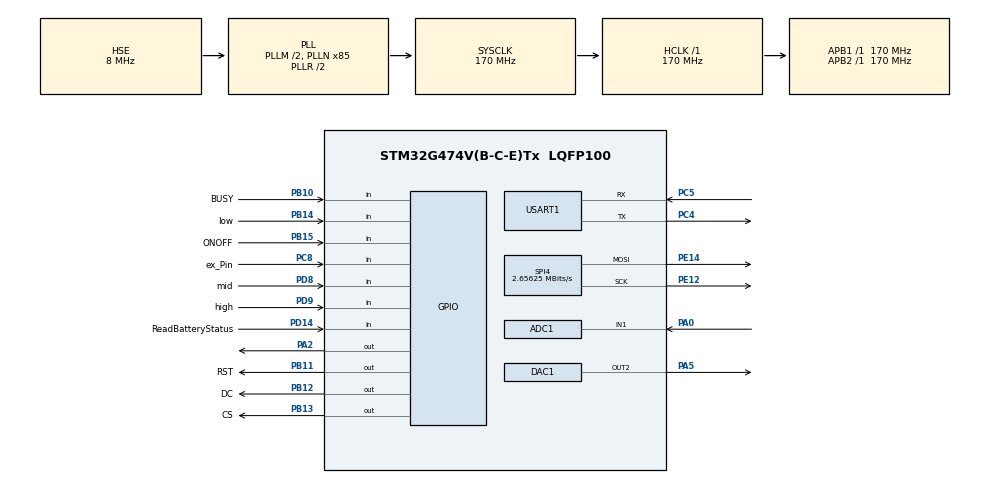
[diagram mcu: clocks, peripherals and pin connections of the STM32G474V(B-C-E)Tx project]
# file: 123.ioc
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ADC1.Channel-0\#ChannelRegularConversion=ADC_CHANNEL_1
ADC1.ClockPrescaler=ADC_CLOCK_ASYNC_DIV16
ADC1.ContinuousConvMode=DISABLE
ADC1.NbrOfConversionFlag=1
ADC1.OffsetNumber-0\#ChannelRegularConversion=ADC_OFFSET_NONE
ADC1.Rank-0\#ChannelRegularConversion=1
ADC1.SamplingTime-0\#ChannelRegularConversion=ADC_SAMPLETIME_640CYCLES_5
ADC1.master=1
DAC1.DAC_Channel-DAC_OUT2=DAC_CHANNEL_2
DAC1.DAC_OutputBuffer-DAC_OUT2=DAC_OUTPUTBUFFER_ENABLE
Mcu.Family=STM32G4
Mcu.Name=STM32G474V(B-C-E)Tx
Mcu.Package=LQFP100
NVIC.PriorityGroup=NVIC_PRIORITYGROUP_4
NVIC.RTC_WKUP_IRQn=true\:0\:0\:false\:false\:true\:true\:true\:true
NVIC.USART1_IRQn=true\:0\:0\:false\:false\:true\:true\:true\:true
PA0.Mode=IN1-Single-Ended
PA0.Signal=ADC1_IN1
PA13.Mode=Serial_Wire
PA13.Signal=SYS_JTMS-SWDIO
PA14.Mode=Serial_Wire
PA14.Signal=SYS_JTCK-SWCLK
PA2.Signal=GPIO_Output
PA5.Signal=COMP_DAC12_group
PB10.GPIO_Label=BUSY
PB10.GPIO_Mode=GPIO_MODE_INPUT
PB10.GPIO_PuPd=GPIO_NOPULL
PB10.Signal=GPIO_Input
PB11.GPIO_Label=RST
PB11.PinState=GPIO_PIN_SET
PB11.Signal=GPIO_Output
PB12.GPIO_Label=DC
PB12.PinState=GPIO_PIN_SET
PB12.Signal=GPIO_Output
PB13.GPIO_Label=CS
PB13.PinState=GPIO_PIN_SET
PB13.Signal=GPIO_Output
PB14.GPIO_Label=low
PB14.GPIO_PuPd=GPIO_PULLDOWN
PB14.Signal=GPIO_Input
PB15.GPIO_Label=ONOFF
PB15.GPIO_Mode=GPIO_MODE_INPUT
PB15.GPIO_PuPd=GPIO_PULLDOWN
PB15.Signal=GPIO_Input
PC14-OSC32_IN.Mode=LSE-External-Oscillator
PC14-OSC32_IN.Signal=RCC_OSC32_IN
PC15-OSC32_OUT.Mode=LSE-External-Oscillator
PC15-OSC32_OUT.Signal=RCC_OSC32_OUT
PC4.Mode=Asynchronous
PC4.Signal=USART1_TX
PC5.Mode=Asynchronous
PC5.Signal=USART1_RX
PC8.GPIO_Label=ex_Pin
PC8.GPIO_PuPd=GPIO_PULLDOWN
PC8.Signal=GPIO_Input
PD14.GPIO_Label=ReadBatteryStatus
PD14.GPIO_PuPd=GPIO_PULLDOWN
PD14.Signal=GPIO_Input
PD8.GPIO_Label=mid
PD8.GPIO_PuPd=GPIO_PULLDOWN
PD8.Signal=GPIO_Input
PD9.GPIO_Label=high
PD9.GPIO_PuPd=GPIO_PULLDOWN
PD9.Signal=GPIO_Input
PE12.GPIO_Speed=GPIO_SPEED_FREQ_VERY_HIGH
PE12.Mode=TX_Only_Simplex_Unidirect_Master
PE12.Signal=SPI4_SCK
PE14.GPIO_Speed=GPIO_SPEED_FREQ_VERY_HIGH
PE14.Mode=TX_Only_Simplex_Unidirect_Master
PE14.Signal=SPI4_MOSI
PF0-OSC_IN.Mode=HSE-External-Oscillator
PF0-OSC_IN.Signal=RCC_OSC_IN
PF1-OSC_OUT.Mode=HSE-External-Oscillator
PF1-OSC_OUT.Signal=RCC_OSC_OUT
ProjectManager.HeapSize=0x800
ProjectManager.StackSize=0x800
ProjectManager.TargetToolchain=CMake
RCC.ADC12Freq_Value=170000000
RCC.ADC345Freq_Value=170000000
RCC.AHBFreq_Value=170000000
RCC.APB1Freq_Value=170000000
RCC.APB1TimFreq_Value=170000000
RCC.APB2Freq_Value=170000000
RCC.APB2TimFreq_Value=170000000
RCC.CortexFreq_Value=170000000
RCC.EXTERNAL_CLOCK_VALUE=12288000
RCC.HCLKFreq_Value=170000000
RCC.HSE_VALUE=8000000
RCC.HSI48_VALUE=48000000
RCC.HSI_VALUE=16000000
RCC.PLLM=RCC_PLLM_DIV2
RCC.PLLN=85
RCC.PLLSourceVirtual=RCC_PLLSOURCE_HSE
RCC.RTCClockSelection=RCC_RTCCLKSOURCE_LSE
RCC.SYSCLKFreq_VALUE=170000000
RCC.SYSCLKSource=RCC_SYSCLKSOURCE_PLLCLK
RCC.USBFreq_Value=170000000
RCC.VCOOutputFreq_Value=340000000
RTC.WakeUpClock-WakeUp=RTC_WAKEUPCLOCK_CK_SPRE_16BITS
RTC.WakeUpCounter-WakeUp=120
SH.COMP_DAC12_group.0=DAC1_OUT2,DAC_OUT2
SPI4.BaudRatePrescaler=SPI_BAUDRATEPRESCALER_64
SPI4.CalculateBaudRate=2.65625 MBits/s
SPI4.DataSize=SPI_DATASIZE_8BIT
SPI4.Direction=SPI_DIRECTION_2LINES
SPI4.Mode=SPI_MODE_MASTER
SPI4.NSSPMode=SPI_NSS_PULSE_DISABLE
SPI4.VirtualType=VM_MASTER
STMicroelectronics.X-CUBE-AI.10.2.0.ActivationBufferSizeList=32616
STMicroelectronics.X-CUBE-AI.10.2.0.ActivationBuffers=pool0
STMicroelectronics.X-CUBE-AI.10.2.0.ActivationNames=pool0
STMicroelectronics.X-CUBE-AI.10.2.0.ActivationSizes=AI_NETWORK_DATA_ACTIVATION_1_SIZE
STMicroelectronics.X-CUBE-AI.10.2.0.ApplicationCcDeviceJjApplication=ApplicationTemplate
STMicroelectronics.X-CUBE-AI.10.2.0.HeapSize=0x800
STMicroelectronics.X-CUBE-AI.10.2.0.InternalRamActivationBufferMaxSize=AI_NETWORK_DATA_ACTIVATIONS_SIZE
STMicroelectronics.X-CUBE-AI.10.2.0.LatestDirectoryUsed-e03d76119f23cd8924233cba32280c27f150eac518f742fb6101dcb9f2cd65d5=C\:\\Users\\a0312\\OneDrive\\edge_aipytorch\\edge_application_pytorch_training_module
STMicroelectronics.X-CUBE-AI.10.2.0.MaximumNumberOfInputLayer=1
STMicroelectronics.X-CUBE-AI.10.2.0.MaximumNumberOfOutputLayer=1
STMicroelectronics.X-CUBE-AI.10.2.0.MaximumSizeOfInputLayer=1
STMicroelectronics.X-CUBE-AI.10.2.0.MaximumSizeOfOutputLayer=1
STMicroelectronics.X-CUBE-AI.10.2.0.ModelActualCompression-e03d76119f23cd8924233cba32280c27f150eac518f742fb6101dcb9f2cd65d5=0.0
STMicroelectronics.X-CUBE-AI.10.2.0.ModelCompression-e03d76119f23cd8924233cba32280c27f150eac518f742fb6101dcb9f2cd65d5=None
STMicroelectronics.X-CUBE-AI.10.2.0.ModelFlashOccupation-e03d76119f23cd8924233cba32280c27f150eac518f742fb6101dcb9f2cd65d5=290920
STMicroelectronics.X-CUBE-AI.10.2.0.ModelHashList=e03d76119f23cd8924233cba32280c27f150eac518f742fb6101dcb9f2cd65d5
STMicroelectronics.X-CUBE-AI.10.2.0.ModelKind-e03d76119f23cd8924233cba32280c27f150eac518f742fb6101dcb9f2cd65d5=ONNX
STMicroelectronics.X-CUBE-AI.10.2.0.ModelMacc-e03d76119f23cd8924233cba32280c27f150eac518f742fb6101dcb9f2cd65d5=3360129
STMicroelectronics.X-CUBE-AI.10.2.0.ModelName-e03d76119f23cd8924233cba32280c27f150eac518f742fb6101dcb9f2cd65d5=network
STMicroelectronics.X-CUBE-AI.10.2.0.ModelNameList=network
STMicroelectronics.X-CUBE-AI.10.2.0.ModelRamOccupation-e03d76119f23cd8924233cba32280c27f150eac518f742fb6101dcb9f2cd65d5=32616
STMicroelectronics.X-CUBE-AI.10.2.0.ModelStructureFile-e03d76119f23cd8924233cba32280c27f150eac518f742fb6101dcb9f2cd65d5=C\:\\Users\\a0312\\OneDrive\\edge_aipytorch\\edge_application_pytorch_training_module\\use_this.onnx
STMicroelectronics.X-CUBE-AI.10.2.0.ModelType-e03d76119f23cd8924233cba32280c27f150eac518f742fb6101dcb9f2cd65d5=STM32Cube.AI MCU runtime
STMicroelectronics.X-CUBE-AI.10.2.0.ReadyForCodeGeneration=true
STMicroelectronics.X-CUBE-AI.10.2.0.StackSize=0x800
STMicroelectronics.X-CUBE-AI.10.2.0.WorkingBufferStartAddrList=0xFFFFFFFF
STMicroelectronics.X-CUBE-AI.10.2.0.XAaCUBEAaAICcArtificialOoIntelligenceJjCore=true
STMicroelectronics.X-CUBE-AI.10.2.0.copyWeightToRam-e03d76119f23cd8924233cba32280c27f150eac518f742fb6101dcb9f2cd65d5=false
STMicroelectronics.X-CUBE-AI.10.2.0.customLayerConfigEnabled-e03d76119f23cd8924233cba32280c27f150eac518f742fb6101dcb9f2cd65d5=false
STMicroelectronics.X-CUBE-AI.10.2.0.noOnnxIoTranspose-e03d76119f23cd8924233cba32280c27f150eac518f742fb6101dcb9f2cd65d5=false
STMicroelectronics.X-CUBE-AI.10.2.0.useInputAllocation-e03d76119f23cd8924233cba32280c27f150eac518f742fb6101dcb9f2cd65d5=true
STMicroelectronics.X-CUBE-AI.10.2.0.useOutputAllocation-e03d76119f23cd8924233cba32280c27f150eac518f742fb6101dcb9f2cd65d5=true
USART1.VirtualMode-Asynchronous=VM_ASYNC
VP_RTC_VS_RTC_Activate.Mode=RTC_Enabled
VP_RTC_VS_RTC_WakeUp_intern.Mode=WakeUp
VP_STMicroelectronics.X-CUBE-AI_VS_ArtificialOoIntelligenceJjXAaCUBEAaAI_10.2.0.Mode=ArtificialOoIntelligenceJjXAaCUBEAaAI
VP_STMicroelectronics.X-CUBE-AI_VS_DeviceJjApplication_10.2.0.Mode=DeviceJjApplication
VP_SYS_VS_DBSignals.Mode=DisableDeadBatterySignals
board=custom

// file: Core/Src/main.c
/* USER CODE BEGIN Header */
/**
  ******************************************************************************
  * @file           : main.c
  * @brief          : Main program body
  ******************************************************************************
  * @attention
  *
  * Copyright (c) 2026 STMicroelectronics.
  * All rights reserved.
  *
  * This software is licensed under terms that can be found in the LICENSE file
  * in the root directory of this software component.
  * If no LICENSE file comes with this software, it is provided AS-IS.
  *
  ******************************************************************************
  */
/* USER CODE END Header */
#include "main.h"
#include "app_x-cube-ai.h"

/* USER CODE BEGIN Includes */
#include <stdint.h>
#include <stdio.h>
#include <stdlib.h>
#include <string.h>
#include <sys/_intsup.h>
#include "epd_driver.h"
#include "stm32g474xx.h"
#include "stm32g4xx_hal.h"
#include "epd_images.h"
#include "GUI.h"
#include "font.h"
#include "stm32g4xx_hal_adc.h"
#include "stm32g4xx_hal_gpio.h"
/* USER CODE END Includes */

ADC_HandleTypeDef hadc1;

DAC_HandleTypeDef hdac1;

RTC_HandleTypeDef hrtc;

SPI_HandleTypeDef hspi4;

UART_HandleTypeDef huart1;

/* USER CODE BEGIN PV */
uint8_t epd_update_flag = 1;
int adc_value = 0;
float voltage = 0;
float voltage1 = 0;
int soc = 0;
int soh = 0;
char meassage[256] = "";  // 扩大缓冲区以容纳更长的输出
char soc_str[20] = "";
float CAL_SLOPE_M  = 0.39f;
float CAL_OFFSET_B = 2.21f;
float Volt[20] = {0};
float Curr[20] = {0};
/* USER CODE END PV */

void SystemClock_Config(void);
static void MX_GPIO_Init(void);
static void MX_DAC1_Init(void);
static void MX_ADC1_Init(void);
static void MX_USART1_UART_Init(void);
static void MX_SPI4_Init(void);
static void MX_RTC_Init(void);
/* USER CODE BEGIN PFP */
void Update_BMS_UI(float voltage, float soc, float soh);
void low_efford(void);
void mid_efford(void);
void high_efford(void);
void ex_high_efford(void);
static void Update_AdcReading(void);

/* USER CODE END PFP */

int main(void)
{

  /* MCU Configuration--------------------------------------------------------*/

  /* Reset of all peripherals, Initializes the Flash interface and the Systick. */
  HAL_Init();

  /* Configure the system clock */
  SystemClock_Config();

  /* Initialize all configured peripherals */
  MX_GPIO_Init();
  MX_DAC1_Init();
  MX_ADC1_Init();
  MX_USART1_UART_Init();
  MX_SPI4_Init();
  MX_RTC_Init();
  MX_X_CUBE_AI_Init();
  /* USER CODE BEGIN 2 */

  /* 測試 UART 輸出 */
  sprintf(meassage, "\r\n=== UART INITIALIZED ===\r\n");
  HAL_UART_Transmit(&huart1, (uint8_t*)meassage, strlen(meassage), HAL_MAX_DELAY);

  HAL_ADCEx_Calibration_Start(&hadc1,ADC_SINGLE_ENDED);
  HAL_ADC_Start(&hadc1);
  HAL_ADC_PollForConversion(&hadc1, HAL_MAX_DELAY);
  Paint_NewImage(Canvas_BW, EPD_WIDTH, EPD_HEIGHT, ROTATE_90, WHITE);

  HAL_DAC_Start(&hdac1, DAC_CHANNEL_2);
  Update_AdcReading();

  if (HAL_GPIO_ReadPin(GPIOB, low_Pin) == GPIO_PIN_SET){
    Curr[0] = -2.7375f;
    high_efford();
  }
  else if (HAL_GPIO_ReadPin(GPIOD, mid_Pin) == GPIO_PIN_SET){
    Curr[0] = -1.42f;
    mid_efford();
  }
  else if (HAL_GPIO_ReadPin(GPIOD, high_Pin) == GPIO_PIN_SET){
    Curr[0] = -0.9125f;
    low_efford();
  }
  else if (HAL_GPIO_ReadPin(GPIOC, ex_Pin_Pin) == GPIO_PIN_SET){
    Curr[0] = -3.65f;
    ex_high_efford();
  }
  else if (HAL_GPIO_ReadPin(GPIOD, ReadBatteryStatus_Pin) == GPIO_PIN_SET){
    Curr[0]= - 0.01f;
    HAL_DAC_SetValue(&hdac1, DAC_CHANNEL_2, DAC_ALIGN_12B_R, 200);
  }
  else {
  }

  MX_X_CUBE_AI_Process();
  HAL_Delay(3000);

  Update_BMS_UI(voltage, soc, soh);

  sprintf(soc_str, "\r\nSOC: %d %%\r\n", soc);
  HAL_UART_Transmit(&huart1, (uint8_t*)soc_str, strlen(soc_str), HAL_MAX_DELAY);

  /* USER CODE END 2 */

  /* Infinite loop */
  /* USER CODE BEGIN WHILE */
  while (1)
  {
    Update_AdcReading();

    if (HAL_GPIO_ReadPin(GPIOB, ONOFF_Pin) == GPIO_PIN_SET){
      HAL_DAC_SetValue(&hdac1, DAC_CHANNEL_2, DAC_ALIGN_12B_R, 0);
      EPD_Init();
      EPD_Clear();
      EPD_Sleep();
      while(1);
    }

    HAL_DAC_Start(&hdac1, DAC_CHANNEL_2);      // formula => Vout(x/4095)*3.21
    if (HAL_GPIO_ReadPin(GPIOB, low_Pin) == GPIO_PIN_SET){
      Curr[0] = -2.7375f;
      high_efford();
    }
    else if (HAL_GPIO_ReadPin(GPIOD, mid_Pin) == GPIO_PIN_SET){
      Curr[0] = -1.42f;
      mid_efford();
    }
    else if (HAL_GPIO_ReadPin(GPIOD, high_Pin) == GPIO_PIN_SET){
      Curr[0] = -0.9125f;
      low_efford();
    }
    else if (HAL_GPIO_ReadPin(GPIOC, ex_Pin_Pin) == GPIO_PIN_SET){
      Curr[0] = -3.65f;
      ex_high_efford();
    }
    else if (HAL_GPIO_ReadPin(GPIOD, ReadBatteryStatus_Pin) == GPIO_PIN_SET){
    Curr[0]= -0.01f;
    HAL_DAC_SetValue(&hdac1, DAC_CHANNEL_2, DAC_ALIGN_12B_R, 200);
    }
    else {
    }

    if (epd_update_flag == 1 ){
          epd_update_flag = 0;
          Update_BMS_UI(voltage, soc, soh);
      }
    if(voltage < 2.70f) {
    HAL_DAC_SetValue(&hdac1, DAC_CHANNEL_2, DAC_ALIGN_12B_R, 0);
    while(1);
   }
    /* 調用 AI 推理流程 */
    MX_X_CUBE_AI_Process();

    /* USER CODE END WHILE */

  MX_X_CUBE_AI_Process();
  }
}

void SystemClock_Config(void)
{
  RCC_OscInitTypeDef RCC_OscInitStruct = {0};
  RCC_ClkInitTypeDef RCC_ClkInitStruct = {0};

  /** Configure the main internal regulator output voltage
  */
  HAL_PWREx_ControlVoltageScaling(PWR_REGULATOR_VOLTAGE_SCALE1_BOOST);

  /** Configure LSE Drive Capability
  */
  HAL_PWR_EnableBkUpAccess();
  __HAL_RCC_LSEDRIVE_CONFIG(RCC_LSEDRIVE_LOW);

  /** Initializes the RCC Oscillators according to the specified parameters
  * in the RCC_OscInitTypeDef structure.
  */
  RCC_OscInitStruct.OscillatorType = RCC_OSCILLATORTYPE_HSE|RCC_OSCILLATORTYPE_LSE;
  RCC_OscInitStruct.HSEState = RCC_HSE_ON;
  RCC_OscInitStruct.LSEState = RCC_LSE_ON;
  RCC_OscInitStruct.PLL.PLLState = RCC_PLL_ON;
  RCC_OscInitStruct.PLL.PLLSource = RCC_PLLSOURCE_HSE;
  RCC_OscInitStruct.PLL.PLLM = RCC_PLLM_DIV2;
  RCC_OscInitStruct.PLL.PLLN = 85;
  RCC_OscInitStruct.PLL.PLLP = RCC_PLLP_DIV2;
  RCC_OscInitStruct.PLL.PLLQ = RCC_PLLQ_DIV2;
  RCC_OscInitStruct.PLL.PLLR = RCC_PLLR_DIV2;
  if (HAL_RCC_OscConfig(&RCC_OscInitStruct) != HAL_OK)
  {
    Error_Handler();
  }

  /** Initializes the CPU, AHB and APB buses clocks
  */
  RCC_ClkInitStruct.ClockType = RCC_CLOCKTYPE_HCLK|RCC_CLOCKTYPE_SYSCLK
                              |RCC_CLOCKTYPE_PCLK1|RCC_CLOCKTYPE_PCLK2;
  RCC_ClkInitStruct.SYSCLKSource = RCC_SYSCLKSOURCE_PLLCLK;
  RCC_ClkInitStruct.AHBCLKDivider = RCC_SYSCLK_DIV1;
  RCC_ClkInitStruct.APB1CLKDivider = RCC_HCLK_DIV1;
  RCC_ClkInitStruct.APB2CLKDivider = RCC_HCLK_DIV1;

  if (HAL_RCC_ClockConfig(&RCC_ClkInitStruct, FLASH_LATENCY_4) != HAL_OK)
  {
    Error_Handler();
  }
}

static void MX_ADC1_Init(void)
{

  ADC_MultiModeTypeDef multimode = {0};
  ADC_ChannelConfTypeDef sConfig = {0};

  /** Common config
  */
  hadc1.Instance = ADC1;
  hadc1.Init.ClockPrescaler = ADC_CLOCK_ASYNC_DIV16;
  hadc1.Init.Resolution = ADC_RESOLUTION_12B;
  hadc1.Init.DataAlign = ADC_DATAALIGN_RIGHT;
  hadc1.Init.GainCompensation = 0;
  hadc1.Init.ScanConvMode = ADC_SCAN_DISABLE;
  hadc1.Init.EOCSelection = ADC_EOC_SINGLE_CONV;
  hadc1.Init.LowPowerAutoWait = DISABLE;
  hadc1.Init.ContinuousConvMode = DISABLE;
  hadc1.Init.NbrOfConversion = 1;
  hadc1.Init.DiscontinuousConvMode = DISABLE;
  hadc1.Init.ExternalTrigConv = ADC_SOFTWARE_START;
  hadc1.Init.ExternalTrigConvEdge = ADC_EXTERNALTRIGCONVEDGE_NONE;
  hadc1.Init.DMAContinuousRequests = DISABLE;
  hadc1.Init.Overrun = ADC_OVR_DATA_PRESERVED;
  hadc1.Init.OversamplingMode = DISABLE;
  if (HAL_ADC_Init(&hadc1) != HAL_OK)
  {
    Error_Handler();
  }

  /** Configure the ADC multi-mode
  */
  multimode.Mode = ADC_MODE_INDEPENDENT;
  if (HAL_ADCEx_MultiModeConfigChannel(&hadc1, &multimode) != HAL_OK)
  {
    Error_Handler();
  }

  /** Configure Regular Channel
  */
  sConfig.Channel = ADC_CHANNEL_1;
  sConfig.Rank = ADC_REGULAR_RANK_1;
  sConfig.SamplingTime = ADC_SAMPLETIME_640CYCLES_5;
  sConfig.SingleDiff = ADC_SINGLE_ENDED;
  sConfig.OffsetNumber = ADC_OFFSET_NONE;
  sConfig.Offset = 0;
  if (HAL_ADC_ConfigChannel(&hadc1, &sConfig) != HAL_OK)
  {
    Error_Handler();
  }

}

static void MX_DAC1_Init(void)
{

  DAC_ChannelConfTypeDef sConfig = {0};

  /** DAC Initialization
  */
  hdac1.Instance = DAC1;
  if (HAL_DAC_Init(&hdac1) != HAL_OK)
  {
    Error_Handler();
  }

  /** DAC channel OUT2 config
  */
  sConfig.DAC_HighFrequency = DAC_HIGH_FREQUENCY_INTERFACE_MODE_AUTOMATIC;
  sConfig.DAC_DMADoubleDataMode = DISABLE;
  sConfig.DAC_SignedFormat = DISABLE;
  sConfig.DAC_SampleAndHold = DAC_SAMPLEANDHOLD_DISABLE;
  sConfig.DAC_Trigger = DAC_TRIGGER_NONE;
  sConfig.DAC_Trigger2 = DAC_TRIGGER_NONE;
  sConfig.DAC_OutputBuffer = DAC_OUTPUTBUFFER_ENABLE;
  sConfig.DAC_ConnectOnChipPeripheral = DAC_CHIPCONNECT_EXTERNAL;
  sConfig.DAC_UserTrimming = DAC_TRIMMING_FACTORY;
  if (HAL_DAC_ConfigChannel(&hdac1, &sConfig, DAC_CHANNEL_2) != HAL_OK)
  {
    Error_Handler();
  }

}

static void MX_RTC_Init(void)
{

  /** Initialize RTC Only
  */
  hrtc.Instance = RTC;
  hrtc.Init.HourFormat = RTC_HOURFORMAT_24;
  hrtc.Init.AsynchPrediv = 127;
  hrtc.Init.SynchPrediv = 255;
  hrtc.Init.OutPut = RTC_OUTPUT_DISABLE;
  hrtc.Init.OutPutRemap = RTC_OUTPUT_REMAP_NONE;
  hrtc.Init.OutPutPolarity = RTC_OUTPUT_POLARITY_HIGH;
  hrtc.Init.OutPutType = RTC_OUTPUT_TYPE_OPENDRAIN;
  hrtc.Init.OutPutPullUp = RTC_OUTPUT_PULLUP_NONE;
  if (HAL_RTC_Init(&hrtc) != HAL_OK)
  {
    Error_Handler();
  }

  /** Enable the WakeUp
  */
  if (HAL_RTCEx_SetWakeUpTimer_IT(&hrtc, 120, RTC_WAKEUPCLOCK_CK_SPRE_16BITS) != HAL_OK)
  {
    Error_Handler();
  }

}

static void MX_SPI4_Init(void)
{

  /* SPI4 parameter configuration*/
  hspi4.Instance = SPI4;
  hspi4.Init.Mode = SPI_MODE_MASTER;
  hspi4.Init.Direction = SPI_DIRECTION_2LINES;
  hspi4.Init.DataSize = SPI_DATASIZE_8BIT;
  hspi4.Init.CLKPolarity = SPI_POLARITY_LOW;
  hspi4.Init.CLKPhase = SPI_PHASE_1EDGE;
  hspi4.Init.NSS = SPI_NSS_SOFT;
  hspi4.Init.BaudRatePrescaler = SPI_BAUDRATEPRESCALER_64;
  hspi4.Init.FirstBit = SPI_FIRSTBIT_MSB;
  hspi4.Init.TIMode = SPI_TIMODE_DISABLE;
  hspi4.Init.CRCCalculation = SPI_CRCCALCULATION_DISABLE;
  hspi4.Init.CRCPolynomial = 7;
  hspi4.Init.CRCLength = SPI_CRC_LENGTH_DATASIZE;
  hspi4.Init.NSSPMode = SPI_NSS_PULSE_DISABLE;
  if (HAL_SPI_Init(&hspi4) != HAL_OK)
  {
    Error_Handler();
  }

}

static void MX_USART1_UART_Init(void)
{

  huart1.Instance = USART1;
  huart1.Init.BaudRate = 115200;
  huart1.Init.WordLength = UART_WORDLENGTH_8B;
  huart1.Init.StopBits = UART_STOPBITS_1;
  huart1.Init.Parity = UART_PARITY_NONE;
  huart1.Init.Mode = UART_MODE_TX_RX;
  huart1.Init.HwFlowCtl = UART_HWCONTROL_NONE;
  huart1.Init.OverSampling = UART_OVERSAMPLING_16;
  huart1.Init.OneBitSampling = UART_ONE_BIT_SAMPLE_DISABLE;
  huart1.Init.ClockPrescaler = UART_PRESCALER_DIV1;
  huart1.AdvancedInit.AdvFeatureInit = UART_ADVFEATURE_NO_INIT;
  if (HAL_UART_Init(&huart1) != HAL_OK)
  {
    Error_Handler();
  }
  if (HAL_UARTEx_SetTxFifoThreshold(&huart1, UART_TXFIFO_THRESHOLD_1_8) != HAL_OK)
  {
    Error_Handler();
  }
  if (HAL_UARTEx_SetRxFifoThreshold(&huart1, UART_RXFIFO_THRESHOLD_1_8) != HAL_OK)
  {
    Error_Handler();
  }
  if (HAL_UARTEx_DisableFifoMode(&huart1) != HAL_OK)
  {
    Error_Handler();
  }

}

static void MX_GPIO_Init(void)
{
  GPIO_InitTypeDef GPIO_InitStruct = {0};

  /* GPIO Ports Clock Enable */
  __HAL_RCC_GPIOC_CLK_ENABLE();
  __HAL_RCC_GPIOF_CLK_ENABLE();
  __HAL_RCC_GPIOA_CLK_ENABLE();
  __HAL_RCC_GPIOE_CLK_ENABLE();
  __HAL_RCC_GPIOB_CLK_ENABLE();
  __HAL_RCC_GPIOD_CLK_ENABLE();

  /*Configure GPIO pin Output Level */
  HAL_GPIO_WritePin(GPIOA, GPIO_PIN_2, GPIO_PIN_RESET);

  /*Configure GPIO pin Output Level */
  HAL_GPIO_WritePin(GPIOB, RST_Pin|DC_Pin|CS_Pin, GPIO_PIN_SET);

  /*Configure GPIO pin : PA2 */
  GPIO_InitStruct.Pin = GPIO_PIN_2;
  GPIO_InitStruct.Mode = GPIO_MODE_OUTPUT_PP;
  GPIO_InitStruct.Pull = GPIO_NOPULL;
  GPIO_InitStruct.Speed = GPIO_SPEED_FREQ_LOW;
  HAL_GPIO_Init(GPIOA, &GPIO_InitStruct);

  /*Configure GPIO pin : BUSY_Pin */
  GPIO_InitStruct.Pin = BUSY_Pin;
  GPIO_InitStruct.Mode = GPIO_MODE_INPUT;
  GPIO_InitStruct.Pull = GPIO_NOPULL;
  HAL_GPIO_Init(BUSY_GPIO_Port, &GPIO_InitStruct);

  /*Configure GPIO pins : RST_Pin DC_Pin CS_Pin */
  GPIO_InitStruct.Pin = RST_Pin|DC_Pin|CS_Pin;
  GPIO_InitStruct.Mode = GPIO_MODE_OUTPUT_PP;
  GPIO_InitStruct.Pull = GPIO_NOPULL;
  GPIO_InitStruct.Speed = GPIO_SPEED_FREQ_LOW;
  HAL_GPIO_Init(GPIOB, &GPIO_InitStruct);

  /*Configure GPIO pins : low_Pin ONOFF_Pin */
  GPIO_InitStruct.Pin = low_Pin|ONOFF_Pin;
  GPIO_InitStruct.Mode = GPIO_MODE_INPUT;
  GPIO_InitStruct.Pull = GPIO_PULLDOWN;
  HAL_GPIO_Init(GPIOB, &GPIO_InitStruct);

  /*Configure GPIO pins : mid_Pin high_Pin ReadBatteryStatus_Pin */
  GPIO_InitStruct.Pin = mid_Pin|high_Pin|ReadBatteryStatus_Pin;
  GPIO_InitStruct.Mode = GPIO_MODE_INPUT;
  GPIO_InitStruct.Pull = GPIO_PULLDOWN;
  HAL_GPIO_Init(GPIOD, &GPIO_InitStruct);

  /*Configure GPIO pin : ex_Pin_Pin */
  GPIO_InitStruct.Pin = ex_Pin_Pin;
  GPIO_InitStruct.Mode = GPIO_MODE_INPUT;
  GPIO_InitStruct.Pull = GPIO_PULLDOWN;
  HAL_GPIO_Init(ex_Pin_GPIO_Port, &GPIO_InitStruct);

}

/* USER CODE BEGIN 4 */
void Update_BMS_UI(float voltage, float soc, float soh) {
    char text_buffer[30];
    int v_int = (int)voltage;
    int v_dec = (int)((voltage - (float)v_int) * 100.0f);
    int soc10 = (int)(soc * 10.0f + 0.5f);
    int soh10 = (int)(soh * 10.0f + 0.5f);

    if (v_dec < 0) {
      v_dec = -v_dec;
    }

    // --- 步驟 A：清空虛擬畫布 (全部填成白色 0xFF) ---
    Paint_SelectImage(Canvas_BW);
    Paint_Clear(WHITE);

    // --- 步驟 B：畫出表格外框與分隔線 ---
    // (X起點, Y起點, X終點, Y終點, 顏色, 填滿/空心, 線條粗細)
    Paint_DrawRectangle(5, 5, 123, 290, BLACK, DOT_PIXEL_2X2, DRAW_FILL_EMPTY);
    Paint_DrawLine(5, 40, 123, 40, BLACK, DOT_PIXEL_1X1, LINE_STYLE_SOLID);

    // --- 步驟 C：畫上靜態標題 ---
    // (X, Y, 字串, 字型大小, 背景色, 前景色)
    Paint_DrawString_EN(10, 15, "BAT Status", &Font16, BLACK, WHITE);

    // --- 步驟 D：將你的變數轉換成字串，並畫上去 ---
    // 電池電壓
    sprintf(text_buffer, "V: %d.%02d V", v_int, v_dec);
    Paint_DrawString_EN(10, 60, text_buffer, &Font16, BLACK, WHITE);

    // SOC (State of Charge)
    sprintf(text_buffer, "SOC  : %d.%d %%", soc10 / 10, soc10 % 10);
    Paint_DrawString_EN(10, 80, text_buffer, &Font16, BLACK, WHITE);

    // SOH (State of Health)
    sprintf(text_buffer, "SOH  : %d.%d %%", soh10 / 10, soh10 % 10);
    // Paint_DrawString_EN(10, 100, text_buffer, &Font16, BLACK, WHITE);

    // --- 步驟 E：把畫好的畫布，透過 SPI 射給實體電子紙 ---
    EPD_Init();              // 1. 先喚醒硬體
    EPD_Display(Canvas_BW);  // 2. 傳送圖片
    EPD_Sleep();             // 3. 立刻斷電休眠保護螢幕
}
void HAL_RTCEx_WakeUpTimerEventCallback(RTC_HandleTypeDef *hrtc)
{
    if (hrtc->Instance == RTC) {
        epd_update_flag = 1;
  }
}

static void Update_AdcReading(void)
{

  HAL_ADC_Start(&hadc1);
  HAL_ADC_PollForConversion(&hadc1, HAL_MAX_DELAY);
  adc_value = HAL_ADC_GetValue(&hadc1);
  voltage = (adc_value / 4095.0f) * 3.22f * 2.07f ;
  // voltage = ((voltage1 * CAL_SLOPE_M) + CAL_OFFSET_B)+0.05;
}

void  low_efford (void)
{
      int A = 1024 ;

      HAL_DAC_SetValue(&hdac1, DAC_CHANNEL_2, DAC_ALIGN_12B_R, A);

}
void mid_efford(void)
{
      int B = 2047 ;

      HAL_DAC_SetValue(&hdac1, DAC_CHANNEL_2, DAC_ALIGN_12B_R, B);

}

void high_efford(void)
{
      int C = 3071 ;

      HAL_DAC_SetValue(&hdac1, DAC_CHANNEL_2, DAC_ALIGN_12B_R, C);
}

void ex_high_efford(void)
{
      int D = 4095 ;

      HAL_DAC_SetValue(&hdac1, DAC_CHANNEL_2, DAC_ALIGN_12B_R, D);

}

/* USER CODE END 4 */

void Error_Handler(void)
{
  __disable_irq();
  while (1)
  {
  }
}
